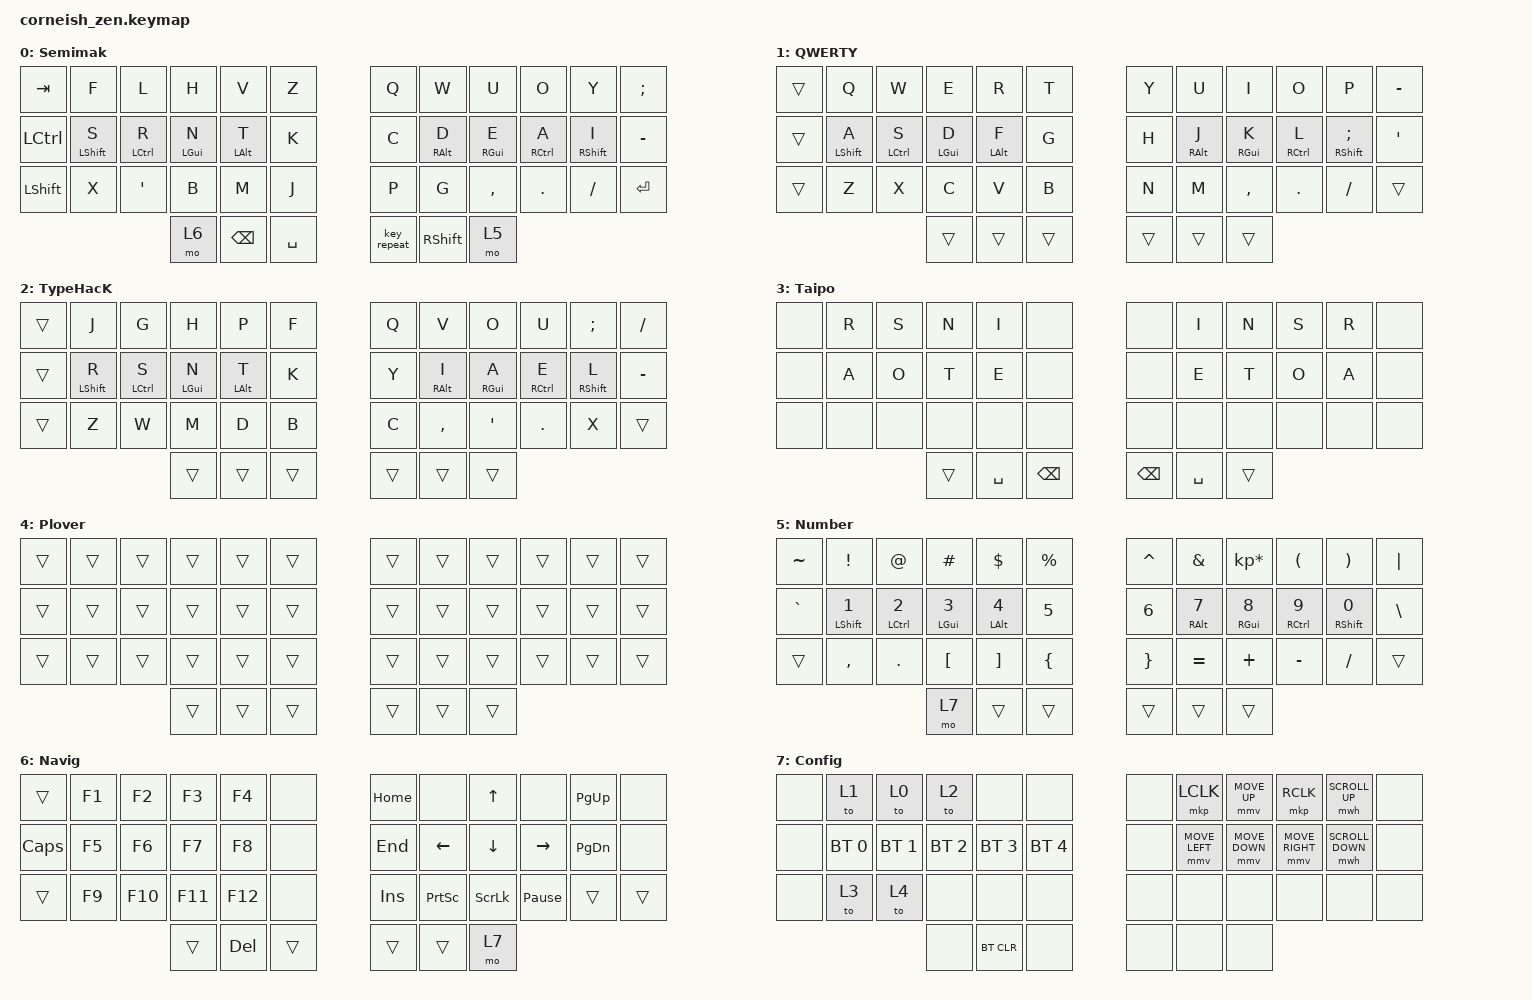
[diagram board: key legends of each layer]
#include <behaviors.dtsi>
#include <dt-bindings/zmk/keys.h>
#include <dt-bindings/zmk/bt.h>
#include <dt-bindings/zmk/mouse.h>

// 00 01 02 03 04 05	06 07 08 09 10 11
// 12 13 14 15 16 17	18 19 20 21 22 23
// 24 25 26 27 28 29	30 31 32 33 34 35
//          36 37 38	39 40 41

#define TLI 4
#define TLM 3
#define TLR 2
#define TLP 1
#define BLI 16
#define BLM 15
#define BLR 14
#define BLP 13
#define LOT 37
#define LIT 38
#define TRI 7
#define TRM 8
#define TRR 9
#define TRP 10
#define BRI 19
#define BRM 20
#define BRR 21
#define BRP 22
#define ROT 40
#define RIT 39

#define COMBO(NAME, BINDINGS, KEYPOS) \
  combo_##NAME { \
    timeout-ms = <50>; \
    bindings = <BINDINGS>; \
    key-positions = <KEYPOS>; \
	layers = <3>; \
  };

/ {
  chosen {
    zmk,matrix_transform = &default_transform;
    //zmk,matrix_transform = &five_column_transform;
  };
};

/ {
	behaviors {
		hm: homerow_mods {
				compatible = "zmk,behavior-hold-tap";
			    flavor = "balanced";
				tapping-term-ms = <220>;
				quick-tap-ms = <175>;                // repeat on tap-into-hold
				global-quick-tap-ms = <150>;         // requires PR #1387
				bindings = <&kp>, <&kp>;
				hold-trigger-on-release;             // requires PR #1423
				#binding-cells = <2>;
				label = "HOMEROW_MODS";
		};
	};

	combos {
        compatible = "zmk,combos";
		
        combo_esc {
            timeout-ms = <50>;
            key-positions = <0 1>;
            bindings = <&kp ESC>;
        };
        combo_lshft {
            timeout-ms = <50>;
            key-positions = <13 25>;
            bindings = <&kp LSHFT>;
			layers = <3 4 5 6 7>;
        };
        combo_lctrl {
            timeout-ms = <50>;
            key-positions = <14 26>;
            bindings = <&kp LCTRL>;
			layers = <3 4 5 6 7>;
        };
        combo_lgui {
            timeout-ms = <50>;
            key-positions = <15 27>;
            bindings = <&kp LGUI>;
			layers = <3 4 5 6 7>;
        };
        combo_lalt {
            timeout-ms = <50>;
            key-positions = <16 28>;
            bindings = <&kp LALT>;
			layers = <3 4 5 6 7>;
        };
        combo_rshft {
            timeout-ms = <50>;
            key-positions = <22 34>;
            bindings = <&kp RSHFT>;
			layers = <3 4 5 6 7>;
        };
        combo_rctrl {
            timeout-ms = <50>;
            key-positions = <21 33>;
            bindings = <&kp RCTRL>;
			layers = <3 4 5 6 7>;
        };
        combo_rgui {
            timeout-ms = <50>;
            key-positions = <20 32>;
            bindings = <&kp RGUI>;
			layers = <3 4 5 6 7>;
        };
        combo_ralt {
            timeout-ms = <50>;
            key-positions = <19 31>;
            bindings = <&kp RALT>;
			layers = <3 4 5 6 7>;
        };
		COMBO(1,&kp LS(E),BLI LOT)
		COMBO(2,&kp LS(E),BRI ROT)
		COMBO(3,&kp LS(T),BLM LOT)
		COMBO(4,&kp LS(T),BRM ROT)
		COMBO(5,&kp LS(O),BLR LOT)
		COMBO(6,&kp LS(O),BRR ROT)
		COMBO(7,&kp LS(A),BLP LOT)
		COMBO(8,&kp LS(A),BRP ROT)
		COMBO(9,&kp LPAR,BLI LIT)
		COMBO(10,&kp LPAR,BRI RIT)
		COMBO(11,&kp LBKT,BLM LIT)
		COMBO(12,&kp LBKT,BRM RIT)
		COMBO(13,&kp LBRC,BLR LIT)
		COMBO(14,&kp LBRC,BRR RIT)
		COMBO(15,&kp LT,BLP LIT)
		COMBO(16,&kp LT,BRP RIT)
		COMBO(17,&kp LS(I),LOT TLI)
		COMBO(18,&kp LS(I),ROT TRI)
		COMBO(19,&kp LS(N),LOT TLM)
		COMBO(20,&kp LS(N),ROT TRM)
		COMBO(21,&kp LS(S),LOT TLR)
		COMBO(22,&kp LS(S),ROT TRR)
		COMBO(23,&kp LS(R),LOT TLP)
		COMBO(24,&kp LS(R),ROT TRP)
		COMBO(25,&kp RPAR,LIT TLI)
		COMBO(26,&kp RPAR,RIT TRI)
		COMBO(27,&kp RBKT,LIT TLM)
		COMBO(28,&kp RBKT,RIT TRM)
		COMBO(29,&kp RBRC,LIT TLR)
		COMBO(30,&kp RBRC,RIT TRR)
		COMBO(31,&kp GT,LIT TLP)
		COMBO(32,&kp GT,RIT TRP)
		COMBO(33,&kp H,BLI BLM)
		COMBO(34,&kp H,BRI BRM)
		COMBO(35,&kp L,BLP BLR)
		COMBO(36,&kp L,BRP BRR)
		COMBO(37,&kp Y,TLI TLM)
		COMBO(38,&kp Y,TRI TRM)
		COMBO(39,&kp B,TLP TLR)
		COMBO(40,&kp B,TRP TRR)
		COMBO(41,&kp LS(H),BLI BLM LOT)
		COMBO(42,&kp LS(H),BRI BRM ROT)
		COMBO(43,&kp LS(L),BLP BLR LOT)
		COMBO(44,&kp LS(L),BRP BRR ROT)
		COMBO(45,&kp LS(Y),LOT TLI TLM)
		COMBO(46,&kp LS(Y),ROT TRI TRM)
		COMBO(47,&kp LS(B),LOT TLP TLR)
		COMBO(48,&kp LS(B),ROT TRP TRR)
		COMBO(49,&kp N0,BLI BLM LIT)
		COMBO(50,&kp N0,BRI BRM RIT)
		COMBO(51,&kp N4,BLP BLR LIT)
		COMBO(52,&kp N4,BRP BRR RIT)
		COMBO(53,&kp N5,LIT TLI TLM)
		COMBO(54,&kp N5,RIT TRI TRM)
		COMBO(55,&kp N9,LIT TLP TLR)
		COMBO(56,&kp N9,RIT TRP TRR)
		COMBO(57,&kp G,TLI TLP)
		COMBO(58,&kp G,TRI TRP)
		COMBO(59,&kp U,BLM BLR)
		COMBO(60,&kp U,BRM BRR)
		COMBO(61,&kp D,BLI BLP)
		COMBO(62,&kp D,BRI BRP)
		COMBO(63,&kp P,TLM TLR)
		COMBO(64,&kp P,TRM TRR)
		COMBO(65,&kp LS(G),LOT TLI TLP)
		COMBO(66,&kp LS(G),ROT TRI TRP)
		COMBO(67,&kp LS(U),BLM BLR LOT)
		COMBO(68,&kp LS(U),BRM BRR ROT)
		COMBO(69,&kp LS(D),BLI BLP LOT)
		COMBO(70,&kp LS(D),BRI BRP ROT)
		COMBO(71,&kp LS(P),LOT TLM TLR)
		COMBO(72,&kp LS(P),ROT TRM TRR)
		COMBO(73,&kp HASH,LIT TLI TLP)
		COMBO(74,&kp HASH,RIT TRI TRP)
		COMBO(75,&kp N2,BLM BLR LIT)
		COMBO(76,&kp N2,BRM BRR RIT)
		COMBO(77,&kp AT,BLI BLP LIT)
		COMBO(78,&kp AT,BRI BRP RIT)
		COMBO(79,&kp N7,LIT TLM TLR)
		COMBO(80,&kp N7,RIT TRM TRR)
		COMBO(81,&kp C,BLI BLR)
		COMBO(82,&kp C,BRI BRR)
		COMBO(83,&kp Q,BLM BLP)
		COMBO(84,&kp Q,BRM BRP)
		COMBO(85,&kp F,TLI TLR)
		COMBO(86,&kp F,TRI TRR)
		COMBO(87,&kp Z,TLM TLP)
		COMBO(88,&kp Z,TRM TRP)
		COMBO(89,&kp LS(C),BLI BLR LOT)
		COMBO(90,&kp LS(C),BRI BRR ROT)
		COMBO(91,&kp LS(Q),BLM BLP LOT)
		COMBO(92,&kp LS(Q),BRM BRP ROT)
		COMBO(93,&kp LS(F),LOT TLI TLR)
		COMBO(94,&kp LS(F),ROT TRI TRR)
		COMBO(95,&kp LS(Z),LOT TLM TLP)
		COMBO(96,&kp LS(Z),ROT TRM TRP)
		COMBO(97,&kp N1,BLI BLR LIT)
		COMBO(98,&kp N1,BRI BRR RIT)
		COMBO(99,&kp N3,BLM BLP LIT)
		COMBO(100,&kp N3,BRM BRP RIT)
		COMBO(101,&kp N6,LIT TLI TLR)
		COMBO(102,&kp N6,RIT TRI TRR)
		COMBO(103,&kp N8,LIT TLM TLP)
		COMBO(104,&kp N8,RIT TRM TRP)
		COMBO(105,&kp V,BLI TLR)
		COMBO(106,&kp V,BRI TRR)
		COMBO(107,&kp X,BLM TLP)
		COMBO(108,&kp X,BRM TRP)
		COMBO(109,&kp K,BLR TLI)
		COMBO(110,&kp K,BRR TRI)
		COMBO(111,&kp J,BLP TLM)
		COMBO(112,&kp J,BRP TRM)
		COMBO(113,&kp LS(V),BLI LOT TLR)
		COMBO(114,&kp LS(V),BRI ROT TRR)
		COMBO(115,&kp LS(X),BLM LOT TLP)
		COMBO(116,&kp LS(X),BRM ROT TRP)
		COMBO(117,&kp LS(K),BLR LOT TLI)
		COMBO(118,&kp LS(K),BRR ROT TRI)
		COMBO(119,&kp LS(J),BLP LOT TLM)
		COMBO(120,&kp LS(J),BRP ROT TRM)
		COMBO(121,&kp STAR,BLI LIT TLR)
		COMBO(122,&kp STAR,BRI RIT TRR)
		COMBO(123,&kp CARET,BLM LIT TLP)
		COMBO(124,&kp CARET,BRM RIT TRP)
		COMBO(125,&kp PLUS,BLR LIT TLI)
		COMBO(126,&kp PLUS,BRR RIT TRI)
		COMBO(127,&kp EQUAL,BLP LIT TLM)
		COMBO(128,&kp EQUAL,BRP RIT TRM)
		COMBO(129,&kp MINUS,BLR TLM)
		COMBO(130,&kp MINUS,BRR TRM)
		COMBO(131,&kp W,BLP TLI)
		COMBO(132,&kp W,BRP TRI)
		COMBO(133,&kp M,BLI TLP)
		COMBO(134,&kp M,BRI TRP)
		COMBO(135,&kp FSLH,BLM TLR)
		COMBO(136,&kp FSLH,BRM TRR)
		COMBO(137,&kp UNDER,BLR LOT TLM)
		COMBO(138,&kp UNDER,BRR ROT TRM)
		COMBO(139,&kp LS(W),BLP LOT TLI)
		COMBO(140,&kp LS(W),BRP ROT TRI)
		COMBO(141,&kp LS(M),BLI LOT TLP)
		COMBO(142,&kp LS(M),BRI ROT TRP)
		COMBO(143,&kp BSLH,BLM LOT TLR)
		COMBO(144,&kp BSLH,BRM ROT TRR)
		COMBO(145,&kp PRCNT,BLR LIT TLM)
		COMBO(146,&kp PRCNT,BRR RIT TRM)
		COMBO(147,&kp AMPS,BLP LIT TLI)
		COMBO(148,&kp AMPS,BRP RIT TRI)
		COMBO(149,&kp DLLR,BLI LIT TLP)
		COMBO(150,&kp DLLR,BRI RIT TRP)
		COMBO(151,&kp PIPE,BLM LIT TLR)
		COMBO(152,&kp PIPE,BRM RIT TRR)
		COMBO(153,&kp SQT,BLP TLR)
		COMBO(154,&kp SQT,BRP TRR)
		COMBO(155,&kp SEMI,BLR TLP)
		COMBO(156,&kp SEMI,BRR TRP)
		COMBO(157,&kp QMARK,BLM TLI)
		COMBO(158,&kp QMARK,BRM TRI)
		COMBO(159,&kp COMMA,BLI TLM)
		COMBO(160,&kp COMMA,BRI TRM)
		COMBO(161,&kp DQT,BLP LOT TLR)
		COMBO(162,&kp DQT,BRP ROT TRR)
		COMBO(163,&kp COLON,BLR LOT TLP)
		COMBO(164,&kp COLON,BRR ROT TRP)
		COMBO(165,&kp EXCL,BLM LOT TLI)
		COMBO(166,&kp EXCL,BRM ROT TRI)
		COMBO(167,&kp DOT,BLI LOT TLM)
		COMBO(168,&kp DOT,BRI ROT TRM)
		COMBO(169,&kp GRAVE,BLP LIT TLR)
		COMBO(170,&kp GRAVE,BRP RIT TRR)
		COMBO(171,&kp TILDE,BLI LIT TLM)
		COMBO(172,&kp TILDE,BRI RIT TRM)
		COMBO(173,&kp LEFT_GUI,BLP TLP)
		COMBO(174,&kp LEFT_GUI,BRP TRP)
		COMBO(175,&kp LEFT_ALT,BLR TLR)
		COMBO(176,&kp LEFT_ALT,BRR TRR)
		COMBO(177,&kp LEFT_CONTROL,BLM TLM)
		COMBO(178,&kp LEFT_CONTROL,BRM TRM)
		COMBO(179,&kp LEFT_SHIFT,BLI TLI)
		COMBO(180,&kp LEFT_SHIFT,BRI TRI)
		COMBO(181,&kp RIGHT,BLP TLP LOT)
		COMBO(182,&kp RIGHT,BRP TRP ROT)
		COMBO(183,&kp UP,BLR TLR LOT)
		COMBO(184,&kp UP,BRR TRR ROT)
		COMBO(185,&kp DOWN,BLM TLM LOT)
		COMBO(186,&kp DOWN,BRM TRM ROT)
		COMBO(187,&kp LEFT,BLI TLI LOT)
		COMBO(188,&kp LEFT,BRI TRI ROT)
		COMBO(189,&kp PG_UP,BLP TLP LIT)
		COMBO(190,&kp PG_UP,BRP TRP RIT)
		COMBO(191,&kp HOME,BLR TLR LIT)
		COMBO(192,&kp HOME,BRR TRR RIT)
		COMBO(193,&kp END,BLM TLM LIT)
		COMBO(194,&kp END,BRM TRM RIT)
		COMBO(195,&kp PG_DN,BLI TLI LIT)
		COMBO(196,&kp PG_DN,BRI TRI RIT)
		COMBO(197,&kp ENTER,BLI BLM BLR)
		COMBO(198,&kp ENTER,BRI BRM BRR)
		COMBO(199,&kp TAB,TLI TLM TLR)
		COMBO(200,&kp TAB,TRI TRM TRR)
		COMBO(201,&kp ESC,BLI BLM BLR LOT)
		COMBO(202,&kp ESC,BRI BRM BRR ROT)
		COMBO(203,&kp DEL,TLI TLM TLR LOT)
		COMBO(204,&kp DEL,TRI TRM TRR ROT)
		COMBO(205,&kp RALT,BLI BLM BLR LIT)
		COMBO(206,&kp RALT,BRI BRM BRR RIT)
    };

        keymap {
                compatible = "zmk,keymap";

                default_layer {
                        label = "Semimak";
// -----------------------------------------------------------------------------------------
// | TAB |  F  |  L  |  H  |  V  |  Z  |   |  Q  |  W  |  U  |  O  |  Y  |  ;  |
// | CTL |  S  |  R  |  N  |  T  |  K  |   |  C  |  D  |  E  |  A  |  I  |  -  |
// | SFT |  X  |  "  |  B  |  M  |  J  |   |  P  |  G  |  ,  |  .  |  /  | ENT |
//                   | NAV | BSP | SPC |   | RPT | SFT | NUM |
                        bindings = <
   &kp TAB   &kp F       &kp L         &kp H      &kp V      &kp Z   &kp Q &kp W       &kp U      &kp O       &kp Y       &kp SEMI
   &kp LCTRL &hm LSHFT S &hm LCTRL R   &hm LGUI N &hm LALT T &kp K   &kp C &hm RALT D  &hm RGUI E &hm RCTRL A &hm RSHFT I &kp MINUS
   &kp LSHFT &kp X       &kp SQT       &kp B      &kp M      &kp J   &kp P &kp G       &kp COMMA  &kp DOT     &kp FSLH    &kp RET
                                          &mo 6 &kp BKSP &kp SPACE   &key_repeat &kp RSHFT &mo 5
                        >;
                };
                qwerty_layer {
                        label = "QWERTY";
                        bindings = <
   &trans &kp Q       &kp W       &kp E      &kp R      &kp T   &kp Y &kp U       &kp I      &kp O       &kp P          &kp MINUS
   &trans &hm LSHFT A &hm LCTRL S &hm LGUI D &hm LALT F &kp G   &kp H &hm RALT J  &hm RGUI K &hm RCTRL L &hm RSHFT SEMI &kp SQT
   &trans &kp Z       &kp X       &kp C      &kp V      &kp B   &kp N &kp M       &kp COMMA  &kp DOT     &kp FSLH       &trans
                                         &trans &trans &trans   &trans &trans &trans
                        >;
                };
                typehack_layer {
                        label = "TypeHacK";
                        bindings = <
   &trans &kp J       &kp G       &kp H      &kp P      &kp F   &kp Q &kp V      &kp O      &kp U       &kp SEMI    &kp FSLH
   &trans &hm LSHFT R &hm LCTRL S &hm LGUI N &hm LALT T &kp K   &kp Y &hm RALT I &hm RGUI A &hm RCTRL E &hm RSHFT L &kp MINUS
   &trans &kp Z       &kp W       &kp M      &kp D      &kp B   &kp C &kp COMMA  &kp SQT    &kp DOT     &kp X       &trans
                                         &trans &trans &trans   &trans &trans &trans
                        >;
                };
				taipo_layer {
						label = "Taipo";
						bindings = <
   &none &kp R &kp S &kp N &kp I &none   &none &kp I &kp N &kp S &kp R &none
   &none &kp A &kp O &kp T &kp E &none   &none &kp E &kp T &kp O &kp A &none
   &none &none &none &none &none &none   &none &none &none &none &none &none
			 &trans &kp SPACE &kp BSPC   &kp BSPC &kp SPACE &trans
						>;
				};
				plover_layer {
					label = "Plover";
					bindings = <
//   &trans &kp PLV_SL &kp PLV_TL &kp PLV_PL &kp PLV_HL &kp PLV_ST    &kp PLV_ST &kp PLV_FR &kp PLV_PR &kp PLV_LR &kp PLV_TR &kp PLV_DR
//   &trans &kp PLV_SL &kp PLV_KL &kp PLV_WL &kp PLV_RL &kp PLV_ST    &kp PLV_ST &kp PLV_RR &kp PLV_BR &kp PLV_GR &kp PLV_SR &kp PLV_ZR
//   &trans &kp PLV_NM &kp PLV_NM &kp PLV_NM &kp PLV_NM &kp PLV_NM    &kp PLV_NM &kp PLV_NM &kp PLV_NM &kp PLV_NM &kp PLV_NM &trans
//			                      		&trans &kp PLV_A &kp PLV_O    &kp PLV_E &kp PLV_U &trans
   &trans &trans &trans &trans &trans &trans    &trans &trans &trans &trans &trans &trans
   &trans &trans &trans &trans &trans &trans    &trans &trans &trans &trans &trans &trans
   &trans &trans &trans &trans &trans &trans    &trans &trans &trans &trans &trans &trans
		                &trans &trans &trans    &trans &trans &trans
					>;
				};
                lower_layer {
                        label = "Number";
// -----------------------------------------------------------------------------------------
// |  ~  |  !  |  @  |  #  |  $  |  %  |   |  ^  |  &  |  *  |  (  |  )  | "|" |
// |  `  |  1  |  2  |  3  |  4  |  5  |   |  6  |  7  |  8  |  9  |  0  |  \  |
// |     |  ,  |  .  |  [  |  ]  |  {  |   |  }  |  =  |  +  |  -  |  /  |     |
//                   | CON |     |     |   |     |     |     |
                        bindings = <
   &kp TILDE &kp EXCL     &kp AT       &kp HASH    &kp DLLR    &kp PRCNT   &kp CARET &kp AMPS    &kp KP_MULTIPLY &kp LPAR     &kp RPAR     &kp PIPE
   &kp GRAVE &hm LSHFT N1 &hm LCTRL N2 &hm LGUI N3 &hm LALT N4 &kp N5      &kp N6    &hm RALT N7 &hm RGUI N8     &hm RCTRL N9 &hm RSHFT N0 &kp BSLH
   &trans    &kp COMMA    &kp DOT      &kp LBKT    &kp RBKT    &kp LBRC    &kp RBRC  &kp EQUAL   &kp PLUS        &kp MINUS    &kp FSLH     &trans
                          			   &mo 7	   &trans	   &trans      &trans    &trans      &trans
                        >;
                };

                raise_layer {
                        label = "Navig";
// -----------------------------------------------------------------------------------------
// |     | F1  | F2  | F3  | F4  |     |   | HOM |     | UP  |     | PUP |     |
// | CPS | F5  | F6  | F7  | F8  |     |   | END | LFT | DWN | RGT | PDN |     |
// |     | F9  | F10 | F11 | F12 |     |   | INS | PRN | SCL | PSE |     |     |
//                   |     | DEL |     |   |     |     | CON |
                        bindings = <
   &trans   &kp F1 &kp F2  &kp F3  &kp F4  &none    &kp HOME &none     &kp UP   &none           &kp PG_UP &none
   &kp CAPS &kp F5 &kp F6  &kp F7  &kp F8  &none    &kp END  &kp LEFT  &kp DOWN &kp RIGHT       &kp PG_DN &none
   &trans   &kp F9 &kp F10 &kp F11 &kp F12 &none    &kp INS  &kp PSCRN &kp SLCK &kp PAUSE_BREAK &trans    &trans
                    	   &trans  &kp DEL &trans   &trans   &trans    &mo 7
                        >;
                };
                double_layer {
                        label = "Config";
// -----------------------------------------------------------------------------------------
// |     | QWE | SEM | TYP |      |     |   |     | LCLK | MSUP | RCLK | SCUP |      |
// |     | BT1 | BT2 | BT3 | BT4  | BT5 |   |     | MSLF | MSDN | MSRT | SCDN |      |
// |     | TAI | PLO |     |      |     |   |     |      |      |      |      |      |
//                   |     | BTCL |     |   |     |      |      |
                        bindings = <
   &none      &to 1        &to 0        &to 2        &none        &none          &none &mkp LCLK      &mmv MOVE_UP   &mkp RCLK       &mwh SCROLL_UP   &none
   &none      &bt BT_SEL 0 &bt BT_SEL 1 &bt BT_SEL 2 &bt BT_SEL 3 &bt BT_SEL 4   &none &mmv MOVE_LEFT &mmv MOVE_DOWN &mmv MOVE_RIGHT &mwh SCROLL_DOWN &none
   &none      &to 3        &to 4        &none        &none        &none          &none &none          &none          &none           &none            &none
                    	                &none        &bt BT_CLR   &none          &none &none          &none
                        >;
                };
        };
};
